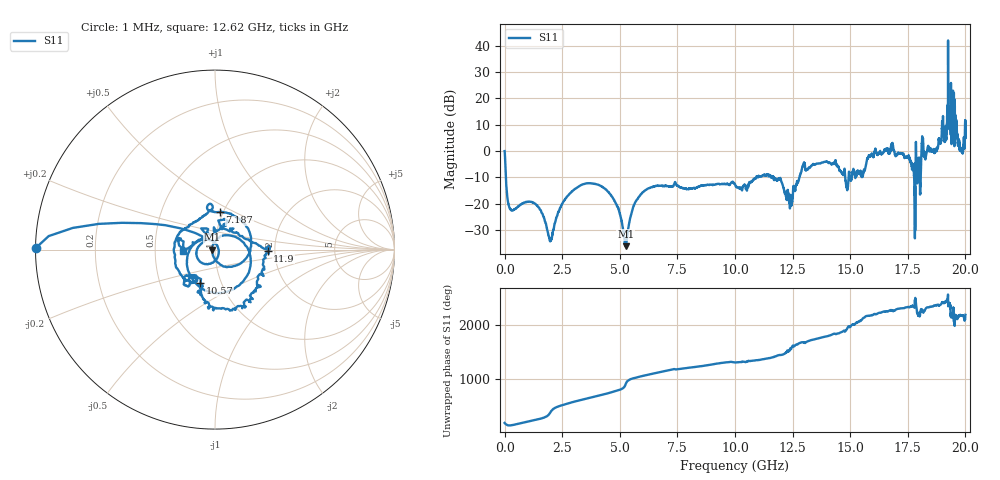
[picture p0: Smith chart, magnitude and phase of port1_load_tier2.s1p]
! Created with skrf 1.8.0 (http://scikit-rf.org).
# GHz S RI R 50.0
!freq ReS11 ImS11
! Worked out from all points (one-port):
!   10001 points, 1 MHz to 20 GHz, reference 50 ohm
!   lowest |S11| = -36.2 dB at 5.257 GHz (marker M1), VSWR 1.03, Z = 48.5 - j0.0242 ohm
!   |S11| at or under -10 dB: 55.34 MHz to 10.92 GHz (10.86 GHz wide, 198 % of centre); 11.67 GHz to 12.8 GHz (1.131 GHz wide, 9.24 % of centre); 14.78 GHz to 14.93 GHz (148.7 MHz wide, 1 % of centre) (the widest 3 of 16)
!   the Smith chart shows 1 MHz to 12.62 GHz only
!   S11 on the Smith chart (normalised r, x): 1 MHz: 0.00, +0.00; 7.187 GHz: 0.97, +0.42; 10.57 GHz: 0.79, -0.31; 11.9 GHz: 1.83, -0.02; 12.62 GHz: 0.69, -0.01
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0.001  -0.9978 0.0097
1.968902  0.0193 0.00123
2.500875  -0.0856 0.0486
5.00075  0.0165 0.0622
5.256737  -0.0155 -0.00025
7.186641  0.0279 0.2082
7.500625  -0.0309 0.2166
10.0005  -0.1745 -0.1585
10.56647  -0.0836 -0.1866
11.9004  0.2926 -0.00563
12.50038  -0.1238 0.0392
12.61637  -0.181 -0.00854
14.0283  0.6096 -0.081
15.00025  -0.3062 0.0801
15.88821  0.7731 0.2547
16.83216  -0.356 1.383
17.50013  -0.7426 0.1257
18.19409  -0.0926 0.847
18.87606  -1.39 -0.6014
19.04605  -0.8671 -2.193
19.14604  -0.2465 -2.255
19.15004  -0.2516 -1.799
19.22204  1.498 -5.44
19.34803  -3.918 -1.423
19.35003  -7.066 0.6086
19.39803  1.331 0.2539
19.60002  3.38 -0.9563
20  1.562 0.8388
